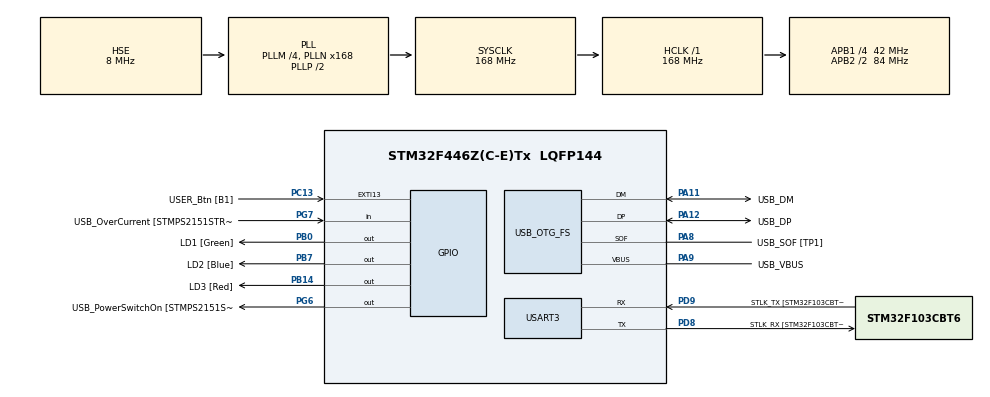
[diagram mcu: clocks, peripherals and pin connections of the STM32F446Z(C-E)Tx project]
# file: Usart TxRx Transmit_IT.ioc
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Mcu.Family=STM32F4
NVIC.USART3_IRQn=true\:1\:0\:true\:false\:true\:true\:true
PH0-OSC_IN.Signal=RCC_OSC_IN
RCC.CortexFreq_Value=168000000
PG6.Signal=GPIO_Output
PB14.GPIO_Label=LD3 [Red]
PG6.GPIO_Label=USB_PowerSwitchOn [STMPS2151STR_EN]
PA14.GPIO_Label=TCK
RCC.SYSCLKSourceVirtual=RCC_SYSCLKSOURCE_PLLCLK
PA11.Mode=Device_Only
PB0.GPIO_Label=LD1 [Green]
PC13.GPIO_Label=USER_Btn [B1]
PD9.Mode=Asynchronous
RCC.SYSCLKSource=RCC_SYSCLKSOURCE_PLLCLK
ProjectManager.StackSize=0x400
PA12.Signal=USB_OTG_FS_DP
RCC.HCLKFreq_Value=168000000
RCC.APB2TimFreq_Value=168000000
PD8.Signal=USART3_TX
RCC.AHBFreq_Value=168000000
PH0-OSC_IN.Mode=HSE-External-Clock-Source
PH0-OSC_IN.GPIO_Label=MCO [STM32F103CBT6_PA8]
RCC.HSE_VALUE=8000000
RCC.PLLMUL=RCC_PLL_MUL9
PC14-OSC32_IN.Mode=LSE-External-Oscillator
PA14.Mode=Serial_Wire
PA10.GPIO_Label=USB_ID
PB7.Signal=GPIO_Output
PA8.Signal=USB_OTG_FS_SOF
PB7.GPIO_Label=LD2 [Blue]
PH1-OSC_OUT.Mode=HSE-External-Clock-Source
Mcu.Package=LQFP144
PA10.Signal=USB_OTG_FS_ID
USB_OTG_FS.VirtualMode=Device_Only
RCC.APB2CLKDivider=RCC_HCLK_DIV2
RCC.APB1TimFreq_Value=84000000
PC15-OSC32_OUT.Mode=LSE-External-Oscillator
PG7.Signal=GPIO_Input
PD9.GPIO_Label=STLK_TX [STM32F103CBT6_PA2]
PC13.Signal=GPXTI13
PA9.GPIO_Label=USB_VBUS
PA11.GPIO_Label=USB_DM
PD9.Signal=USART3_RX
RCC.APB1CLKDivider=RCC_HCLK_DIV4
PC14-OSC32_IN.Signal=RCC_OSC32_IN
PA12.GPIO_Label=USB_DP
PD8.GPIO_Label=STLK_RX [STM32F103CBT6_PA3]
PA13.Signal=SYS_JTMS-SWDIO
PA9.Mode=Activate_VBUS
PA8.GPIO_Label=USB_SOF [TP1]
ProjectManager.TargetToolchain=STM32CubeIDE
PA9.Signal=USB_OTG_FS_VBUS
RCC.USBFreq_Value=48000000
PC15-OSC32_OUT.Signal=RCC_OSC32_OUT
PD8.Mode=Asynchronous
PB14.Signal=GPIO_Output
board=NUCLEO-F446ZE
RCC.VCOOutputFreq_Value=336000000
RCC.APB2Freq_Value=84000000
RCC.PRESCALERUSB=RCC_USBCLKSOURCE_PLL_DIV1_5
PG7.GPIO_Label=USB_OverCurrent [STMPS2151STR_FAULT]
PH1-OSC_OUT.Signal=RCC_OSC_OUT
PA13.Mode=Serial_Wire
Mcu.Name=STM32F446Z(C-E)Tx
PA13.GPIO_Label=TMS
RCC.48MHZClocksFreq_Value=24000000
RCC.SYSCLKFreq_VALUE=168000000
PA12.Mode=Device_Only
USART3.VirtualMode=VM_ASYNC
PA11.Signal=USB_OTG_FS_DM
PA14.Signal=SYS_JTCK-SWCLK
ProjectManager.HeapSize=0x200
RCC.HSI_VALUE=16000000
RCC.PLLQ=7
NVIC.PriorityGroup=NVIC_PRIORITYGROUP_1
RCC.PLLM=4
RCC.PLLN=168
PA8.Mode=Activate_SOF_FS
RCC.APB1Freq_Value=42000000
PB0.Signal=GPIO_Output

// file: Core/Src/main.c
/* USER CODE BEGIN Header */
/**
  ******************************************************************************
  * @file           : main.c
  * @brief          : Main program body
  ******************************************************************************
  * @attention
  *
  * <h2><center>&copy; Copyright (c) 2021 STMicroelectronics.
  * All rights reserved.</center></h2>
  *
  * This software component is licensed by ST under BSD 3-Clause license,
  * the "License"; You may not use this file except in compliance with the
  * License. You may obtain a copy of the License at:
  *                        opensource.org/licenses/BSD-3-Clause
  *
  ******************************************************************************
  */
/* USER CODE END Header */
#include "main.h"

/* USER CODE BEGIN Includes */
#include <string.h>
/* USER CODE END Includes */

UART_HandleTypeDef huart3;

PCD_HandleTypeDef hpcd_USB_OTG_FS;

void SystemClock_Config(void);
static void MX_GPIO_Init(void);
static void MX_USART3_UART_Init(void);
static void MX_USB_OTG_FS_PCD_Init(void);

int main(void)
{

  /* MCU Configuration--------------------------------------------------------*/

  /* Reset of all peripherals, Initializes the Flash interface and the Systick. */
  HAL_Init();

  /* Configure the system clock */
  SystemClock_Config();

  /* Initialize all configured peripherals */
  MX_GPIO_Init();
  MX_USART3_UART_Init();
  MX_USB_OTG_FS_PCD_Init();
  /* USER CODE BEGIN 2 */

  uint8_t dataT1[] = "Hola, mundo1\n\r";
  uint8_t dataT2[] = "Hola, mundo2\n\r";
  uint8_t dataT3[] = "Hola, mundo3\n\r";

//  uint8_t daraR1[10] = "";
//  uint8_t daraR2[10] = "";

  /* USER CODE END 2 */

  /* Infinite loop */
  /* USER CODE BEGIN WHILE */

  while (1)
  {
	  HAL_UART_Transmit(&huart3, dataT1, strlen((char *)dataT1), HAL_MAX_DELAY );
	  HAL_UART_Transmit_IT(&huart3, dataT2, strlen((char *)dataT2));
//	  HAL_UART_Transmit_IT(&huart3, dataT3, strlen((char *)dataT3));
	  for ( int i = 0 ; i < 20 ; i++){
		  asm("nop");
		  asm("nop");
		  asm("nop");
		  asm("nop");
		  asm("nop");
		  asm("nop");
		  asm("nop");
		  asm("nop");
		  asm("nop");
		  asm("nop");
	  }

    /* USER CODE END WHILE */

  }
}

void SystemClock_Config(void)
{
  RCC_OscInitTypeDef RCC_OscInitStruct = {0};
  RCC_ClkInitTypeDef RCC_ClkInitStruct = {0};
  RCC_PeriphCLKInitTypeDef PeriphClkInitStruct = {0};

  /** Configure the main internal regulator output voltage
  */
  __HAL_RCC_PWR_CLK_ENABLE();
  __HAL_PWR_VOLTAGESCALING_CONFIG(PWR_REGULATOR_VOLTAGE_SCALE1);
  /** Initializes the RCC Oscillators according to the specified parameters
  * in the RCC_OscInitTypeDef structure.
  */
  RCC_OscInitStruct.OscillatorType = RCC_OSCILLATORTYPE_HSE;
  RCC_OscInitStruct.HSEState = RCC_HSE_BYPASS;
  RCC_OscInitStruct.PLL.PLLState = RCC_PLL_ON;
  RCC_OscInitStruct.PLL.PLLSource = RCC_PLLSOURCE_HSE;
  RCC_OscInitStruct.PLL.PLLM = 4;
  RCC_OscInitStruct.PLL.PLLN = 168;
  RCC_OscInitStruct.PLL.PLLP = RCC_PLLP_DIV2;
  RCC_OscInitStruct.PLL.PLLQ = 7;
  RCC_OscInitStruct.PLL.PLLR = 2;
  if (HAL_RCC_OscConfig(&RCC_OscInitStruct) != HAL_OK)
  {
    Error_Handler();
  }
  /** Initializes the CPU, AHB and APB buses clocks
  */
  RCC_ClkInitStruct.ClockType = RCC_CLOCKTYPE_HCLK|RCC_CLOCKTYPE_SYSCLK
                              |RCC_CLOCKTYPE_PCLK1|RCC_CLOCKTYPE_PCLK2;
  RCC_ClkInitStruct.SYSCLKSource = RCC_SYSCLKSOURCE_PLLCLK;
  RCC_ClkInitStruct.AHBCLKDivider = RCC_SYSCLK_DIV1;
  RCC_ClkInitStruct.APB1CLKDivider = RCC_HCLK_DIV4;
  RCC_ClkInitStruct.APB2CLKDivider = RCC_HCLK_DIV2;

  if (HAL_RCC_ClockConfig(&RCC_ClkInitStruct, FLASH_LATENCY_5) != HAL_OK)
  {
    Error_Handler();
  }
  PeriphClkInitStruct.PeriphClockSelection = RCC_PERIPHCLK_CLK48;
  PeriphClkInitStruct.Clk48ClockSelection = RCC_CLK48CLKSOURCE_PLLQ;
  if (HAL_RCCEx_PeriphCLKConfig(&PeriphClkInitStruct) != HAL_OK)
  {
    Error_Handler();
  }
}

static void MX_USART3_UART_Init(void)
{

  huart3.Instance = USART3;
  huart3.Init.BaudRate = 115200;
  huart3.Init.WordLength = UART_WORDLENGTH_8B;
  huart3.Init.StopBits = UART_STOPBITS_1;
  huart3.Init.Parity = UART_PARITY_NONE;
  huart3.Init.Mode = UART_MODE_TX_RX;
  huart3.Init.HwFlowCtl = UART_HWCONTROL_NONE;
  huart3.Init.OverSampling = UART_OVERSAMPLING_16;
  if (HAL_UART_Init(&huart3) != HAL_OK)
  {
    Error_Handler();
  }

}

static void MX_USB_OTG_FS_PCD_Init(void)
{

  hpcd_USB_OTG_FS.Instance = USB_OTG_FS;
  hpcd_USB_OTG_FS.Init.dev_endpoints = 6;
  hpcd_USB_OTG_FS.Init.speed = PCD_SPEED_FULL;
  hpcd_USB_OTG_FS.Init.dma_enable = DISABLE;
  hpcd_USB_OTG_FS.Init.phy_itface = PCD_PHY_EMBEDDED;
  hpcd_USB_OTG_FS.Init.Sof_enable = ENABLE;
  hpcd_USB_OTG_FS.Init.low_power_enable = DISABLE;
  hpcd_USB_OTG_FS.Init.lpm_enable = DISABLE;
  hpcd_USB_OTG_FS.Init.vbus_sensing_enable = ENABLE;
  hpcd_USB_OTG_FS.Init.use_dedicated_ep1 = DISABLE;
  if (HAL_PCD_Init(&hpcd_USB_OTG_FS) != HAL_OK)
  {
    Error_Handler();
  }

}

static void MX_GPIO_Init(void)
{
  GPIO_InitTypeDef GPIO_InitStruct = {0};

  /* GPIO Ports Clock Enable */
  __HAL_RCC_GPIOC_CLK_ENABLE();
  __HAL_RCC_GPIOH_CLK_ENABLE();
  __HAL_RCC_GPIOB_CLK_ENABLE();
  __HAL_RCC_GPIOD_CLK_ENABLE();
  __HAL_RCC_GPIOG_CLK_ENABLE();
  __HAL_RCC_GPIOA_CLK_ENABLE();

  /*Configure GPIO pin Output Level */
  HAL_GPIO_WritePin(GPIOB, LD1_Pin|LD3_Pin|LD2_Pin, GPIO_PIN_RESET);

  /*Configure GPIO pin Output Level */
  HAL_GPIO_WritePin(USB_PowerSwitchOn_GPIO_Port, USB_PowerSwitchOn_Pin, GPIO_PIN_RESET);

  /*Configure GPIO pin : USER_Btn_Pin */
  GPIO_InitStruct.Pin = USER_Btn_Pin;
  GPIO_InitStruct.Mode = GPIO_MODE_IT_RISING;
  GPIO_InitStruct.Pull = GPIO_NOPULL;
  HAL_GPIO_Init(USER_Btn_GPIO_Port, &GPIO_InitStruct);

  /*Configure GPIO pins : LD1_Pin LD3_Pin LD2_Pin */
  GPIO_InitStruct.Pin = LD1_Pin|LD3_Pin|LD2_Pin;
  GPIO_InitStruct.Mode = GPIO_MODE_OUTPUT_PP;
  GPIO_InitStruct.Pull = GPIO_NOPULL;
  GPIO_InitStruct.Speed = GPIO_SPEED_FREQ_LOW;
  HAL_GPIO_Init(GPIOB, &GPIO_InitStruct);

  /*Configure GPIO pin : USB_PowerSwitchOn_Pin */
  GPIO_InitStruct.Pin = USB_PowerSwitchOn_Pin;
  GPIO_InitStruct.Mode = GPIO_MODE_OUTPUT_PP;
  GPIO_InitStruct.Pull = GPIO_NOPULL;
  GPIO_InitStruct.Speed = GPIO_SPEED_FREQ_LOW;
  HAL_GPIO_Init(USB_PowerSwitchOn_GPIO_Port, &GPIO_InitStruct);

  /*Configure GPIO pin : USB_OverCurrent_Pin */
  GPIO_InitStruct.Pin = USB_OverCurrent_Pin;
  GPIO_InitStruct.Mode = GPIO_MODE_INPUT;
  GPIO_InitStruct.Pull = GPIO_NOPULL;
  HAL_GPIO_Init(USB_OverCurrent_GPIO_Port, &GPIO_InitStruct);

}

void Error_Handler(void)
{
  __disable_irq();
  while (1)
  {
  }
}

/************************ (C) COPYRIGHT STMicroelectronics *****END OF FILE****/
